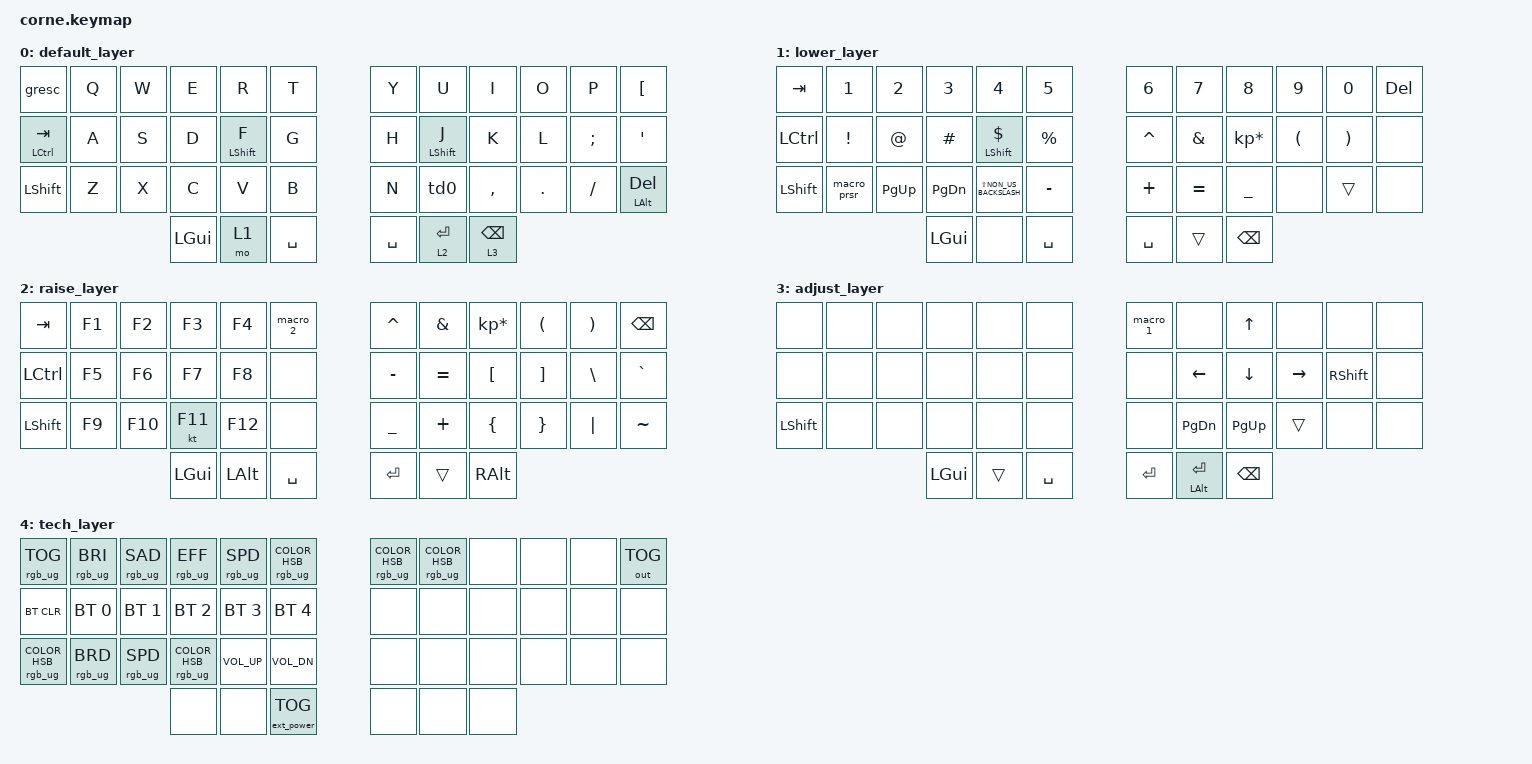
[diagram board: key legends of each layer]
/*
 * Copyright (c) 2020 The ZMK Contributors
 *
 * SPDX-License-Identifier: MIT
 */

#include <behaviors.dtsi>
#include <dt-bindings/zmk/mouse.h>
#include <dt-bindings/led/led.h>
#include <dt-bindings/zmk/bt.h>
#include <dt-bindings/zmk/ext_power.h>
#include <dt-bindings/zmk/keys.h>
#include <dt-bindings/zmk/keys.h>
#include <dt-bindings/zmk/outputs.h>
#include <dt-bindings/zmk/rgb.h>

&spi1 {
    compatible = "nordic,nrf-spim";

    /* Cannot be used together with i2c0. */

    status = "okay";
    mosi-pin = <6>;

    // Unused pins, needed for SPI definition, but not used by the ws2812 driver itself.

    sck-pin = <5>;
    miso-pin = <7>;

    led_strip: ws2812@0 {
        compatible = "worldsemi,ws2812-spi";
        label = "SK6812mini";

        /* SPI */

        reg = <0>; /* ignored, but necessary for SPI bindings */
        spi-max-frequency = <4000000>;

        /* WS2812 */

        chain-length = <27>; /* There are per-key RGB, but enable all */
        spi-one-frame = <0x70>;
        spi-zero-frame = <0x40>;
        color-mapping = <LED_COLOR_ID_GREEN LED_COLOR_ID_RED LED_COLOR_ID_BLUE>;
    };
};

/ {
    chosen {
        zmk,underglow = &led_strip;
    };
};

#define DEFAULT 0
#define LOWER   1
#define RAISE   2
#define ADJUST  3
#define TECH    4

/ {
    behaviors {
        td0: td0 {
            compatible = "zmk,behavior-tap-dance";
            label = "TD0";
            #binding-cells = <0>;
            bindings = <&kp M>, <&kp RBKT>;
        };
    };

    macros {
        macro_1: macro_1 {
            compatible = "zmk,behavior-macro";
            #binding-cells = <0>;
            bindings = <&kp LS(P) &kp LS(O) &kp LS(L) &kp J &kp I &kp N9 &kp N8 &kp AMPS &kp U &kp K>;
            label = "MACRO_1";
        };

        macro_2: macro_2 {
            compatible = "zmk,behavior-macro";
            #binding-cells = <0>;
            bindings =
                <&macro_press>,
                <&kp LCTRL &kp LEFT_ALT>,
                <&macro_tap>,
                <&kp DELETE>,
                <&macro_release>,
                <&kp LCTRL &kp LALT>;

            label = "MACRO_2";
        };

        macro_prsr: macro_prsr {
            compatible = "zmk,behavior-macro";
            #binding-cells = <0>;
            bindings =
                <&macro_press>,
                <&kp LGUI &kp LEFT_SHIFT>,
                <&macro_tap>,
                <&kp S>,
                <&macro_release>,
                <&kp LEFT_GUI &kp LEFT_SHIFT>;

            label = "MACRO_PRSR";
        };
    };

    combos {
        compatible = "zmk,combos";

        combo_1 {
            bindings = <&mo 4>;
            key-positions = <36 37>;
            layers = <0>;
        };
    };

    keymap {
        compatible = "zmk,keymap";

        default_layer {
            // -----------------------------------------------------------------------------------------
            // |  TAB |  Q  |  W  |  E  |  R  |  T  |   |  Y  |  U   |  I  |  O  |  P  |  {   |
            // | CTRL |  A  |  S  |  D  |LSH F|  G  |   |  H  | RSH J|  K  |  L  |  ;  |  '   |
            // | SHFT |  Z  |  X  |  C  |  V  |  B  |   |  N  |  M   |  ,  |  .  |  /  | ESC  |
            //                    | GUI | LWR | SPC |   | SPC | LT1_ENT  | LT2_BKSP |

            bindings = <
&gresc         &kp Q  &kp W  &kp E     &kp R         &kp T        &kp Y      &kp U         &kp I            &kp O    &kp P     &kp LBKT
&mt LCTRL TAB  &kp A  &kp S  &kp D     &mt LSHIFT F  &kp G        &kp H      &mt LSHIFT J  &kp K            &kp L    &kp SEMI  &kp SQT
&kp LSHFT      &kp Z  &kp X  &kp C     &kp V         &kp B        &kp N      &td0          &kp COMMA        &kp DOT  &kp FSLH  &mt LALT DEL
                             &kp LGUI  &mo 1         &kp SPACE    &kp SPACE  &lt 2 RET     &lt 3 BACKSPACE
            >;
        };

        lower_layer {
            // -----------------------------------------------------------------------------------------
            // |  TAB |  1  |  2  |  3  |  4  |  5  |   |  6  |  7  |  8  |  9  |  0  | DEL |
            // |      |  !  |  @  |  #  |  $  |  %  |   |  ^  |  &  |  *  |  (  |  )  |      |
            // | SHFT | P_UP| P_DN|  /  |  _  |  -  |   |  +  |  Ь  |     |  .   |     |      |
            //                    | GUI |     | SPC |   | SPC |     | BKSP |

            bindings = <
&kp TAB    &kp N1       &kp N2     &kp N3     &kp N4                    &kp N5       &kp N6     &kp N7     &kp N8           &kp N9    &kp N0    &kp DEL
&kp LCTRL  &kp EXCL     &kp AT     &kp HASH   &mt LSHIFT DOLLAR         &kp PRCNT    &kp CARET  &kp AMPS   &kp KP_MULTIPLY  &kp LPAR  &kp RPAR  &none
&kp LSHFT  &macro_prsr  &kp PG_UP  &kp PG_DN  &kp LS(NON_US_BACKSLASH)  &kp MINUS    &kp PLUS   &kp EQUAL  &kp UNDER        &none     &trans    &none
                                   &kp LGUI   &none                     &kp SPACE    &kp SPACE  &trans     &kp BACKSPACE
            >;
        };

        raise_layer {
            // -----------------------------------------------------------------------------------------
            // |  TAB |     |     |     |     |     |   |  ^  |  &  |  *  |  (  |  )  | BKSP |
            // | CTRL |     |     |     |     |     |   |  -  |  =  |  [  |  ]  |  \  |  `   |
            // | SHFT |     |     |     |     |     |   |  _  |  +  |  {  |  }  | "|" |  ~   |
            //                    | GUI |     | SPC |   | ENT |     | ALT |

            bindings = <
&kp TAB    &kp F1  &kp F2   &kp F3    &kp F4    &macro_2     &kp CARET  &kp AMPS   &kp KP_MULTIPLY  &kp LPAR  &kp RPAR  &kp BSPC
&kp LCTRL  &kp F5  &kp F6   &kp F7    &kp F8    &none        &kp MINUS  &kp EQUAL  &kp LBKT         &kp RBKT  &kp BSLH  &kp GRAVE
&kp LSHFT  &kp F9  &kp F10  &kt F11   &kp F12   &none        &kp UNDER  &kp PLUS   &kp LBRC         &kp RBRC  &kp PIPE  &kp TILDE
                            &kp LGUI  &kp LALT  &kp SPACE    &kp RET    &trans     &kp RALT
            >;
        };

        adjust_layer {
            // -----------------------------------------------------------------------------------------
            // |  F1  |  F2 |  F3 | F4  |  F5 |  F6 |   | F7  |  F8 |  F9 | F10 | F11 | F12  |
            // | BTCLR| BT1 | BT2 | BT3 | BT4 | BT5 |   |     | LFT | DWN |  UP | RGT |      |
            // | SHFT |     |     |     |     |     |   |     |     |     |     |     |      |
            //                    | GUI |     | SPC |   | ENT | ALT |     |

            bindings = <
&none      &none  &none  &none     &none   &none        &macro_1  &none               &kp UP         &none            &none            &none
&none      &none  &none  &none     &none   &none        &none     &kp LEFT            &kp DOWN       &kp RIGHT_ARROW  &kp RIGHT_SHIFT  &none
&kp LSHFT  &none  &none  &none     &none   &none        &none     &kp PAGE_DOWN       &kp PAGE_UP    &trans           &none            &none
                         &kp LGUI  &trans  &kp SPACE    &kp RET   &mt LEFT_ALT ENTER  &kp BACKSPACE
            >;
        };

        tech_layer {
            bindings = <
&rgb_ug RGB_TOG                  &rgb_ug RGB_BRI  &rgb_ug RGB_SAD  &rgb_ug RGB_EFF                   &rgb_ug RGB_SPD  &rgb_ug RGB_COLOR_HSB(231,80,58)    &rgb_ug RGB_COLOR_HSB(307,57,68)  &rgb_ug RGB_COLOR_HSB(175,79,49)  &none  &none  &none  &out OUT_TOG
&bt BT_CLR                       &bt BT_SEL 0     &bt BT_SEL 1     &bt BT_SEL 2                      &bt BT_SEL 3     &bt BT_SEL 4                        &none                             &none                             &none  &none  &none  &none
&rgb_ug RGB_COLOR_HSB(92,91,50)  &rgb_ug RGB_BRD  &rgb_ug RGB_SPD  &rgb_ug RGB_COLOR_HSB(159,79,34)  &kp C_VOL_UP     &kp C_VOL_DN                        &none                             &none                             &none  &none  &none  &none
                                                                   &none                             &none            &ext_power EP_TOG                   &none                             &none                             &none
            >;
        };
    };
};
